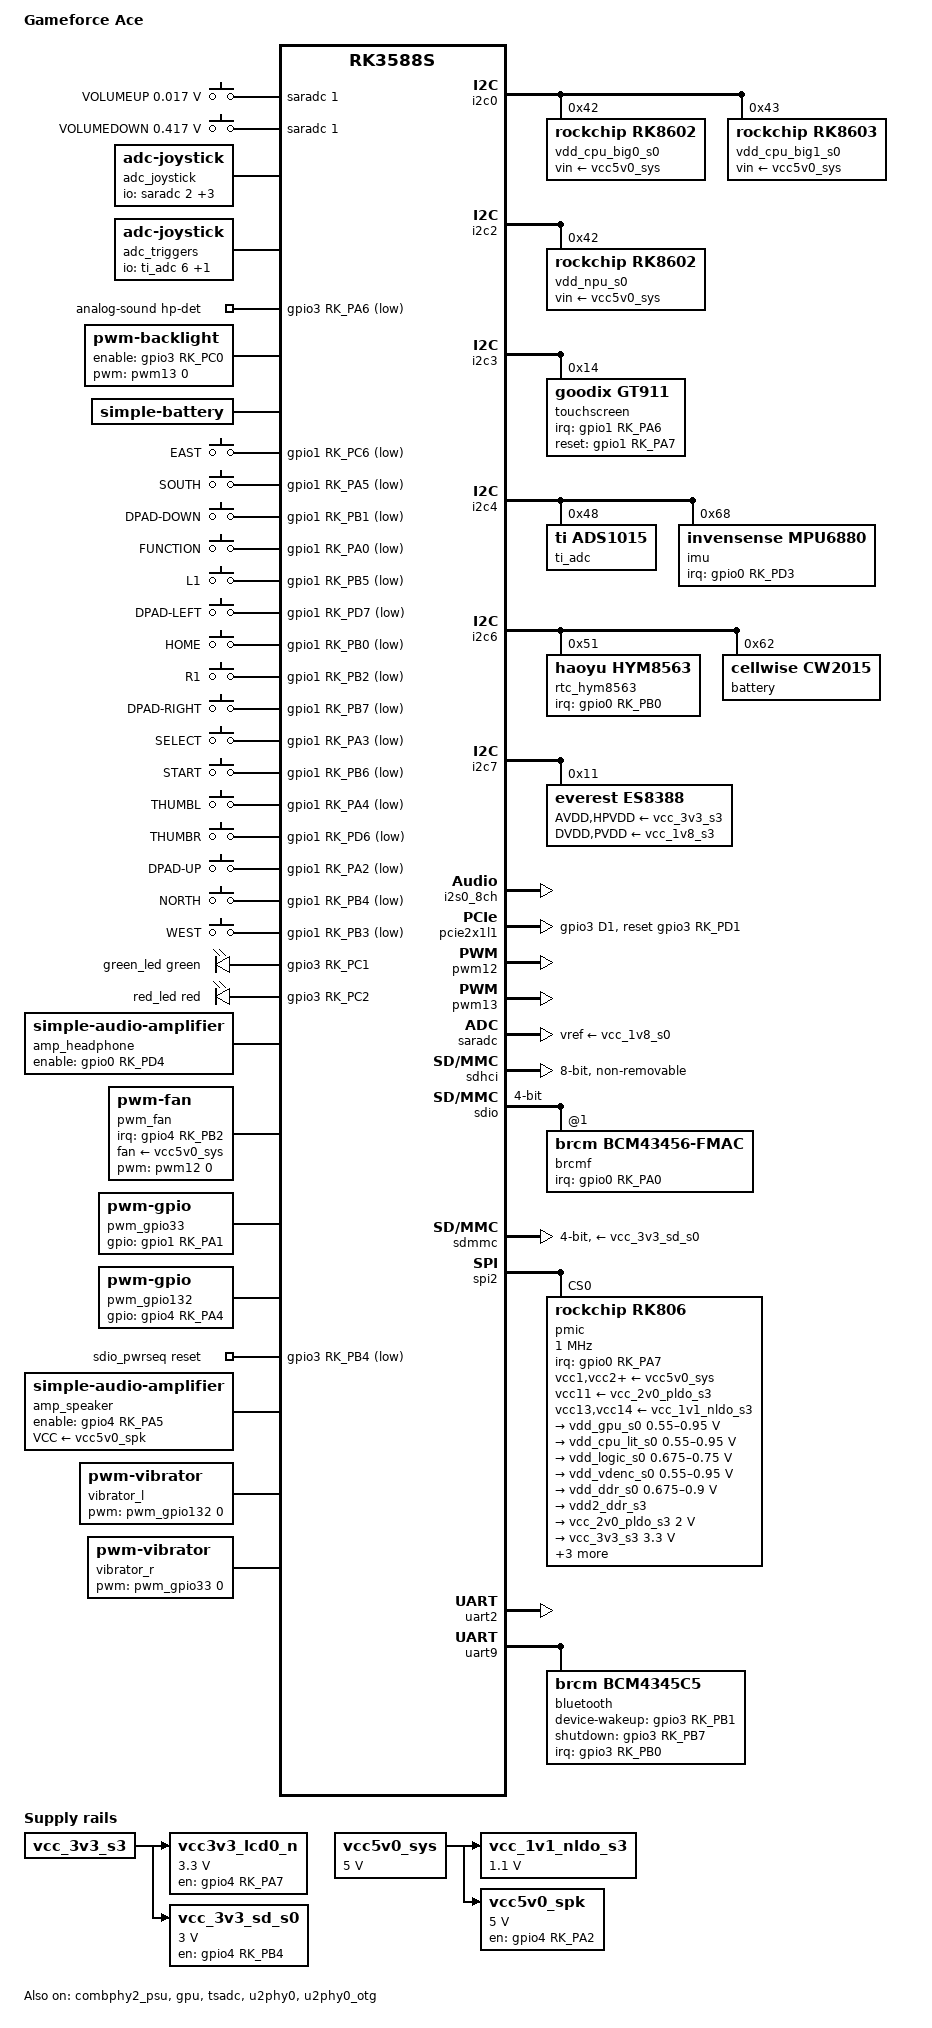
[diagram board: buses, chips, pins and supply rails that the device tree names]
// SPDX-License-Identifier: (GPL-2.0+ OR MIT)

/dts-v1/;

#include <dt-bindings/gpio/gpio.h>
#include <dt-bindings/input/linux-event-codes.h>
#include <dt-bindings/leds/common.h>
#include <dt-bindings/pinctrl/rockchip.h>
#include <dt-bindings/pwm/pwm.h>
#include <dt-bindings/thermal/thermal.h>
#include <dt-bindings/usb/pd.h>
#include "rk3588s.dtsi"

/ {
	model = "Gameforce Ace";
	chassis-type = "handset";
	compatible = "gameforce,ace", "rockchip,rk3588s";

	aliases {
		mmc0 = &sdhci;
		mmc1 = &sdmmc;
		mmc2 = &sdio;
	};

	chosen {
		stdout-path = "serial2:1500000n8";
	};

	adc_keys: adc-keys {
		compatible = "adc-keys";
		io-channels = <&saradc 1>;
		io-channel-names = "buttons";
		keyup-threshold-microvolt = <1800000>;
		poll-interval = <60>;

		button-vol-up {
			label = "VOLUMEUP";
			linux,code = <KEY_VOLUMEUP>;
			press-threshold-microvolt = <17000>;
		};

		button-vol-down {
			label = "VOLUMEDOWN";
			linux,code = <KEY_VOLUMEDOWN>;
			press-threshold-microvolt = <417000>;
		};
	};

	/* Joystick range values based on hardware observation. */
	adc_joystick: adc-joystick {
		compatible = "adc-joystick";
		io-channels = <&saradc 2>, <&saradc 3>,
			      <&saradc 4>, <&saradc 5>;
		poll-interval = <60>;
		#address-cells = <1>;
		#size-cells = <0>;

		axis@0 {
			reg = <0>;
			abs-flat = <40>;
			abs-fuzz = <30>;
			abs-range = <0 4095>;
			linux,code = <ABS_RX>;
		};

		axis@1 {
			reg = <1>;
			abs-flat = <40>;
			abs-fuzz = <30>;
			abs-range = <0 4095>;
			linux,code = <ABS_RY>;
		};

		axis@2 {
			reg = <2>;
			abs-flat = <40>;
			abs-fuzz = <30>;
			abs-range = <0 4095>;
			linux,code = <ABS_Y>;
		};

		axis@3 {
			reg = <3>;
			abs-flat = <40>;
			abs-fuzz = <30>;
			abs-range = <0 4095>;
			linux,code = <ABS_X>;
		};
	};

	/* Trigger range values based on hardware observation. */
	adc_triggers: adc-trigger {
		compatible = "adc-joystick";
		io-channels = <&ti_adc 6>,
			      <&ti_adc 7>;
		poll-interval = <60>;
		#address-cells = <1>;
		#size-cells = <0>;

		axis@0 {
			reg = <0>;
			abs-flat = <15>;
			abs-fuzz = <15>;
			abs-range = <890 1530>;
			linux,code = <ABS_HAT2X>;
		};

		axis@1 {
			reg = <1>;
			abs-flat = <15>;
			abs-fuzz = <15>;
			abs-range = <1010 1550>;
			linux,code = <ABS_HAT2Y>;
		};
	};

	analog-sound {
		compatible = "simple-audio-card";
		pinctrl-0 = <&hp_detect>;
		pinctrl-names = "default";
		simple-audio-card,aux-devs = <&amp_headphone>, <&amp_speaker>;
		simple-audio-card,bitclock-master = <&masterdai>;
		simple-audio-card,format = "i2s";
		simple-audio-card,frame-master = <&masterdai>;
		simple-audio-card,hp-det-gpios = <&gpio3 RK_PA6 GPIO_ACTIVE_LOW>;
		simple-audio-card,mclk-fs = <256>;
		simple-audio-card,name = "rockchip,es8388-codec";
		simple-audio-card,pin-switches = "Headphones", "Speaker";
		simple-audio-card,routing =
			"Speaker Amplifier INL", "LOUT2",
			"Speaker Amplifier INR", "ROUT2",
			"Speaker", "Speaker Amplifier OUTL",
			"Speaker", "Speaker Amplifier OUTR",
			"Headphones Amplifier INL", "LOUT1",
			"Headphones Amplifier INR", "ROUT1",
			"Headphones", "Headphones Amplifier OUTL",
			"Headphones", "Headphones Amplifier OUTR",
			"LINPUT1", "Microphone Jack",
			"RINPUT1", "Microphone Jack",
			"LINPUT2", "Onboard Microphone",
			"RINPUT2", "Onboard Microphone";
		simple-audio-card,widgets =
			"Microphone", "Microphone Jack",
			"Microphone", "Onboard Microphone",
			"Headphone", "Headphones",
			"Speaker", "Speaker";

		masterdai: simple-audio-card,codec {
			sound-dai = <&es8388>;
			system-clock-frequency = <12288000>;
		};

		simple-audio-card,cpu {
			sound-dai = <&i2s0_8ch>;
		};
	};

	backlight: backlight {
		compatible = "pwm-backlight";
		enable-gpios = <&gpio3 RK_PC0 GPIO_ACTIVE_HIGH>;
		pinctrl-0 = <&lcd_bl_en>;
		pinctrl-names = "default";
		pwms = <&pwm13 0 25000 PWM_POLARITY_INVERTED>;
	};

	battery: battery {
		compatible = "simple-battery";
		charge-full-design-microamp-hours = <3700000>;
		constant-charge-current-max-microamp = <2500000>;
		constant-charge-voltage-max-microvolt = <8750000>;
		voltage-min-design-microvolt = <7400000>;
	};

	gpio_keys: gpio-keys {
		compatible = "gpio-keys";
		pinctrl-0 = <&btn_pins_ctrl>;
		pinctrl-names = "default";

		button-a {
			gpios = <&gpio1 RK_PC6 GPIO_ACTIVE_LOW>;
			label = "EAST";
			linux,code = <BTN_EAST>;
		};

		button-b {
			gpios = <&gpio1 RK_PA5 GPIO_ACTIVE_LOW>;
			label = "SOUTH";
			linux,code = <BTN_SOUTH>;
		};

		button-down {
			gpios = <&gpio1 RK_PB1 GPIO_ACTIVE_LOW>;
			label = "DPAD-DOWN";
			linux,code = <BTN_DPAD_DOWN>;
		};

		button-home {
			gpios = <&gpio1 RK_PA0 GPIO_ACTIVE_LOW>;
			label = "FUNCTION";
			linux,code = <BTN_MODE>;
		};

		button-l1 {
			gpios = <&gpio1 RK_PB5 GPIO_ACTIVE_LOW>;
			label = "L1";
			linux,code = <BTN_TL>;
		};

		button-left {
			gpios = <&gpio1 RK_PD7 GPIO_ACTIVE_LOW>;
			label = "DPAD-LEFT";
			linux,code = <BTN_DPAD_LEFT>;
		};

		button-menu {
			gpios = <&gpio1 RK_PB0 GPIO_ACTIVE_LOW>;
			label = "HOME";
			linux,code = <KEY_HOME>;
		};

		button-r1 {
			gpios = <&gpio1 RK_PB2 GPIO_ACTIVE_LOW>;
			label = "R1";
			linux,code = <BTN_TR>;
		};

		button-right {
			gpios = <&gpio1 RK_PB7 GPIO_ACTIVE_LOW>;
			label = "DPAD-RIGHT";
			linux,code = <BTN_DPAD_RIGHT>;
		};

		button-select {
			gpios = <&gpio1 RK_PA3 GPIO_ACTIVE_LOW>;
			label = "SELECT";
			linux,code = <BTN_SELECT>;
		};

		button-start {
			gpios = <&gpio1 RK_PB6 GPIO_ACTIVE_LOW>;
			label = "START";
			linux,code = <BTN_START>;
		};

		button-thumbl {
			gpios = <&gpio1 RK_PA4 GPIO_ACTIVE_LOW>;
			label = "THUMBL";
			linux,code = <BTN_THUMBL>;
		};

		button-thumbr {
			gpios = <&gpio1 RK_PD6 GPIO_ACTIVE_LOW>;
			label = "THUMBR";
			linux,code = <BTN_THUMBR>;
		};

		button-up {
			gpios = <&gpio1 RK_PA2 GPIO_ACTIVE_LOW>;
			label = "DPAD-UP";
			linux,code = <BTN_DPAD_UP>;
		};

		button-x {
			gpios = <&gpio1 RK_PB4 GPIO_ACTIVE_LOW>;
			label = "NORTH";
			linux,code = <BTN_NORTH>;
		};

		button-y {
			gpios = <&gpio1 RK_PB3 GPIO_ACTIVE_LOW>;
			label = "WEST";
			linux,code = <BTN_WEST>;
		};
	};

	gpio_leds: gpio-leds {
		compatible = "gpio-leds";
		pinctrl-names = "default";
		pinctrl-0 = <&led_pins>;

		green_led: led-0 {
			color = <LED_COLOR_ID_GREEN>;
			gpios = <&gpio3 RK_PC1 GPIO_ACTIVE_HIGH>;
			function = LED_FUNCTION_STATUS;
		};

		red_led: led-1 {
			color = <LED_COLOR_ID_RED>;
			gpios = <&gpio3 RK_PC2 GPIO_ACTIVE_HIGH>;
			function = LED_FUNCTION_CHARGING;
		};
	};

	amp_headphone: headphone-amplifier {
		compatible = "simple-audio-amplifier";
		enable-gpios = <&gpio0 RK_PD4 GPIO_ACTIVE_HIGH>;
		pinctrl-0 = <&headphone_amplifier_en>;
		pinctrl-names = "default";
		sound-name-prefix = "Headphones Amplifier";
	};

	pwm_fan: pwm-fan {
		compatible = "pwm-fan";
		#cooling-cells = <2>;
		cooling-levels = <0 120 150 180 210 240 255>;
		fan-supply = <&vcc5v0_sys>;
		interrupt-parent = <&gpio4>;
		interrupts = <RK_PB2 IRQ_TYPE_EDGE_RISING>;
		pulses-per-revolution = <4>;
		pwms = <&pwm12 0 50000 PWM_POLARITY_INVERTED>;
	};

	pwm_gpio33: pwm-33 {
		compatible = "pwm-gpio";
		gpios = <&gpio1 RK_PA1 GPIO_ACTIVE_HIGH>;
		pinctrl-0 = <&vib_right_h>;
		pinctrl-names = "default";
		#pwm-cells = <3>;
	};

	pwm_gpio132: pwm-132 {
		compatible = "pwm-gpio";
		gpios = <&gpio4 RK_PA4 GPIO_ACTIVE_HIGH>;
		pinctrl-0 = <&vib_left_h>;
		pinctrl-names = "default";
		#pwm-cells = <3>;
	};

	sdio_pwrseq: sdio-pwrseq {
		compatible = "mmc-pwrseq-simple";
		clock-names = "ext_clock";
		clocks = <&rtc_hym8563>;
		pinctrl-0 = <&wifi_enable_h>;
		pinctrl-names = "default";
		post-power-on-delay-ms = <200>;
		power-off-delay-us = <5000000>;
		reset-gpios = <&gpio3 RK_PB4 GPIO_ACTIVE_LOW>;
	};

	amp_speaker: speaker-amplifier {
		compatible = "simple-audio-amplifier";
		enable-gpios = <&gpio4 RK_PA5 GPIO_ACTIVE_HIGH>;
		pinctrl-0 = <&speaker_amplifier_en>;
		pinctrl-names = "default";
		sound-name-prefix = "Speaker Amplifier";
		VCC-supply = <&vcc5v0_spk>;
	};

	vcc_1v1_nldo_s3: regulator-vcc-1v1-nldo-s3 {
		compatible = "regulator-fixed";
		regulator-always-on;
		regulator-boot-on;
		regulator-max-microvolt = <1100000>;
		regulator-min-microvolt = <1100000>;
		regulator-name = "vcc_1v1_nldo_s3";
		vin-supply = <&vcc5v0_sys>;
	};

	vcc3v3_lcd0_n: regulator-vcc3v3-lcd0-n {
		compatible = "regulator-fixed";
		enable-active-high;
		gpio = <&gpio4 RK_PA7 GPIO_ACTIVE_HIGH>;
		pinctrl-0 = <&vcc_lcd_h>;
		pinctrl-names = "default";
		regulator-max-microvolt = <3300000>;
		regulator-min-microvolt = <3300000>;
		regulator-name = "vcc3v3_lcd0_n";
		vin-supply = <&vcc_3v3_s3>;
		regulator-state-mem {
			regulator-off-in-suspend;
		};
	};

	vcc_3v3_sd_s0: regulator-vcc-3v3-sd-s0 {
		compatible = "regulator-fixed";
		enable-active-high;
		gpio = <&gpio4 RK_PB4 GPIO_ACTIVE_HIGH>;
		pinctrl-0 = <&sd_s0_pwr>;
		pinctrl-names = "default";
		regulator-max-microvolt = <3000000>;
		regulator-min-microvolt = <3000000>;
		regulator-name = "vcc_3v3_sd_s0";
		vin-supply = <&vcc_3v3_s3>;
	};

	vcc5v0_spk: regulator-vcc5v0-spk {
		compatible = "regulator-fixed";
		enable-active-high;
		gpio = <&gpio4 RK_PA2 GPIO_ACTIVE_HIGH>;
		pinctrl-0 = <&vcc5v0_spk_pwr>;
		pinctrl-names = "default";
		regulator-max-microvolt = <5000000>;
		regulator-min-microvolt = <5000000>;
		regulator-name = "vcc5v0_spk";
		vin-supply = <&vcc5v0_sys>;
		regulator-state-mem {
			regulator-off-in-suspend;
		};
	};

	vcc5v0_sys: regulator-vcc5v0-sys {
		compatible = "regulator-fixed";
		regulator-always-on;
		regulator-boot-on;
		regulator-max-microvolt = <5000000>;
		regulator-min-microvolt = <5000000>;
		regulator-name = "vcc5v0_sys";
	};

	vibrator_l: vibrator-l {
		compatible = "pwm-vibrator";
		pwm-names = "enable";
		pwms = <&pwm_gpio132 0 20000000 0>;
	};

	vibrator_r: vibrator-r {
		compatible = "pwm-vibrator";
		pwm-names = "enable";
		pwms = <&pwm_gpio33 0 20000000 0>;
	};
};

&combphy2_psu {
	status = "okay";
};

&cpu_l0 {
	cpu-supply = <&vdd_cpu_lit_s0>;
};

&cpu_l1 {
	cpu-supply = <&vdd_cpu_lit_s0>;
};

&cpu_l2 {
	cpu-supply = <&vdd_cpu_lit_s0>;
};

&cpu_l3 {
	cpu-supply = <&vdd_cpu_lit_s0>;
};

&cpu_b0 {
	cpu-supply = <&vdd_cpu_big0_s0>;
};

&cpu_b1 {
	cpu-supply = <&vdd_cpu_big0_s0>;
};

&cpu_b2 {
	cpu-supply = <&vdd_cpu_big1_s0>;
};

&cpu_b3 {
	cpu-supply = <&vdd_cpu_big1_s0>;
};

&gpu {
	mali-supply = <&vdd_gpu_s0>;
	status = "okay";
};

&i2c0 {
	pinctrl-0 = <&i2c0m2_xfer>;
	pinctrl-names = "default";
	status = "okay";

	vdd_cpu_big0_s0: regulator@42 {
		compatible = "rockchip,rk8602";
		reg = <0x42>;
		fcs,suspend-voltage-selector = <1>;
		regulator-max-microvolt = <1050000>;
		regulator-min-microvolt = <550000>;
		regulator-name = "vdd_cpu_big0_s0";
		regulator-ramp-delay = <2300>;
		vin-supply = <&vcc5v0_sys>;

		regulator-state-mem {
			regulator-off-in-suspend;
		};
	};

	vdd_cpu_big1_s0: regulator@43 {
		compatible = "rockchip,rk8603", "rockchip,rk8602";
		reg = <0x43>;
		fcs,suspend-voltage-selector = <1>;
		regulator-max-microvolt = <1050000>;
		regulator-min-microvolt = <550000>;
		regulator-name = "vdd_cpu_big1_s0";
		regulator-ramp-delay = <2300>;
		vin-supply = <&vcc5v0_sys>;

		regulator-state-mem {
			regulator-off-in-suspend;
		};
	};
};

&i2c2 {
	status = "okay";

	vdd_npu_s0: regulator@42 {
		compatible = "rockchip,rk8602";
		reg = <0x42>;
		fcs,suspend-voltage-selector = <1>;
		regulator-max-microvolt = <950000>;
		regulator-min-microvolt = <550000>;
		regulator-name = "vdd_npu_s0";
		regulator-ramp-delay = <2300>;
		vin-supply = <&vcc5v0_sys>;

		regulator-state-mem {
			regulator-off-in-suspend;
		};
	};
};

&i2c3 {
	status = "okay";

	touchscreen@14 {
		compatible = "goodix,gt911";
		reg = <0x14>;
		interrupt-parent = <&gpio1>;
		interrupts = <RK_PA6 IRQ_TYPE_LEVEL_LOW>;
		irq-gpios = <&gpio1 RK_PA6 GPIO_ACTIVE_HIGH>;
		pinctrl-0 = <&touch_int>, <&touch_rst>;
		pinctrl-names = "default";
		reset-gpios = <&gpio1 RK_PA7 GPIO_ACTIVE_HIGH>;
		touchscreen-inverted-x;
		touchscreen-size-x = <1080>;
		touchscreen-size-y = <1920>;
		touchscreen-swapped-x-y;
	};
};

&i2c4 {
	pinctrl-0 = <&i2c4m2_xfer>;
	status = "okay";

	ti_adc: adc@48 {
		compatible = "ti,ads1015";
		reg = <0x48>;
		#address-cells = <1>;
		#io-channel-cells = <1>;
		#size-cells = <0>;

		channel@4 {
			reg = <4>;
		};

		channel@5 {
			reg = <5>;
		};

		channel@6 {
			reg = <6>;
		};

		channel@7 {
			reg = <7>;
		};
	};

	imu@68 {
		compatible = "invensense,mpu6880";
		reg = <0x68>;
		interrupt-parent = <&gpio0>;
		interrupts = <RK_PD3 IRQ_TYPE_EDGE_RISING>;
	};
};

&i2c6 {
	pinctrl-0 = <&i2c6m3_xfer>;
	status = "okay";

	rtc_hym8563: rtc@51 {
		compatible = "haoyu,hym8563";
		reg = <0x51>;
		#clock-cells = <0>;
		clock-output-names = "hym8563";
		interrupt-parent = <&gpio0>;
		interrupts = <RK_PB0 IRQ_TYPE_LEVEL_LOW>;
		pinctrl-0 = <&hym8563_int>, <&clk32k_in>;
		pinctrl-names = "default";
		wakeup-source;
	};

	/* Battery profile from BSP device tree. */
	battery@62 {
		compatible = "cellwise,cw2015";
		reg = <0x62>;

		cellwise,battery-profile = /bits/ 8
			<0x18 0x0A 0x76 0x6A 0x6A 0x6A 0x68 0x66
			 0x62 0x5E 0x5A 0x58 0x5F 0x59 0x46 0x3D
			 0x35 0x2D 0x28 0x21 0x29 0x38 0x44 0x50
			 0x1A 0x85 0x07 0xAE 0x14 0x28 0x48 0x56
			 0x66 0x66 0x66 0x6A 0x3E 0x1A 0x6C 0x3D
			 0x09 0x38 0x1A 0x49 0x7B 0x96 0xA2 0x15
			 0x3B 0x77 0x9A 0xB1 0x80 0x87 0xB0 0xCB
			 0x2F 0x00 0x64 0xA5 0xB5 0x1C 0xF0 0x49>;
		cellwise,monitor-interval-ms = <5000>;
		monitored-battery = <&battery>;
		status = "okay";
	};
};

&i2c7 {
	status = "okay";

	es8388: audio-codec@11 {
		compatible = "everest,es8388";
		reg = <0x11>;
		assigned-clock-rates = <12288000>;
		assigned-clocks = <&cru I2S0_8CH_MCLKOUT>;
		AVDD-supply = <&vcc_3v3_s3>;
		clocks = <&cru I2S0_8CH_MCLKOUT>;
		DVDD-supply = <&vcc_1v8_s3>;
		HPVDD-supply = <&vcc_3v3_s3>;
		PVDD-supply = <&vcc_1v8_s3>;
		#sound-dai-cells = <0>;
	};
};

&i2s0_8ch {
	pinctrl-0 = <&i2s0_lrck
		     &i2s0_mclk
		     &i2s0_sclk
		     &i2s0_sdi0
		     &i2s0_sdo0>;
	status = "okay";
};

&package_thermal {
	polling-delay = <1000>;

	trips {
		package_fan0: package-fan0 {
			temperature = <55000>;
			hysteresis = <2000>;
			type = "active";
		};

		package_fan1: package-fan1 {
			temperature = <65000>;
			hysteresis = <2000>;
			type = "active";
		};
	};

	cooling-maps {
		map1 {
			trip = <&package_fan0>;
			cooling-device = <&pwm_fan THERMAL_NO_LIMIT 1>;
		};

		map2 {
			trip = <&package_fan1>;
			cooling-device = <&pwm_fan 2 THERMAL_NO_LIMIT>;
		};
	};
};

/*
 * Attempts to use an M.2 SATA in this slot worked intermittently
 * with the correct nodes enabled in device-tree, but eventually
 * resulted in a destroyed board. Advise caution.
 */
&pcie2x1l1 {
	pinctrl-0 = <&pcie_rst>;
	pinctrl-names = "default";
	reset-gpios = <&gpio3 RK_PD1 GPIO_ACTIVE_HIGH>;
	status = "okay";
};

&pinctrl {
	audio-amplifier {
		headphone_amplifier_en: headphone-amplifier-en {
			rockchip,pins =
				<0 RK_PD4 RK_FUNC_GPIO &pcfg_pull_none>;
		};

		hp_detect: headphone-detect {
			rockchip,pins =
				<3 RK_PA6 RK_FUNC_GPIO &pcfg_pull_none>;
		};

		speaker_amplifier_en: speaker-amplifier-en {
			rockchip,pins =
				<4 RK_PA5 RK_FUNC_GPIO &pcfg_pull_none>;
		};
	};

	bt {
		bt_enable_h: bt-enable-h {
			rockchip,pins =
				<3 RK_PB7 RK_FUNC_GPIO &pcfg_pull_none>;
		};

		bt_host_wake_l: bt-host-wake-l {
			rockchip,pins =
				<3 RK_PB0 RK_FUNC_GPIO &pcfg_pull_down>;
		};

		bt_wake_l: bt-wake-l {
			rockchip,pins =
				<3 RK_PB1 RK_FUNC_GPIO &pcfg_pull_up>;
		};
	};

	charger {
		boost_enable_h: boost-enable-h {
			rockchip,pins =
				<4 RK_PA6 RK_FUNC_GPIO &pcfg_pull_none>;
		};
		charger_int_h: charger-int-h {
			rockchip,pins =
				<0 RK_PD5 RK_FUNC_GPIO &pcfg_pull_up>;
		};
	};

	hym8563 {
		hym8563_int: hym8563-int {
			rockchip,pins =
				<0 RK_PB0 RK_FUNC_GPIO &pcfg_pull_up>;
		};
	};

	gpio-btns {
		btn_pins_ctrl: btn-pins-ctrl {
			rockchip,pins =
				<1 RK_PA0 RK_FUNC_GPIO &pcfg_pull_up>,
				<1 RK_PA2 RK_FUNC_GPIO &pcfg_pull_up>,
				<1 RK_PA3 RK_FUNC_GPIO &pcfg_pull_up>,
				<1 RK_PA4 RK_FUNC_GPIO &pcfg_pull_up>,
				<1 RK_PA5 RK_FUNC_GPIO &pcfg_pull_up>,
				<1 RK_PB0 RK_FUNC_GPIO &pcfg_pull_up>,
				<1 RK_PB1 RK_FUNC_GPIO &pcfg_pull_up>,
				<1 RK_PB2 RK_FUNC_GPIO &pcfg_pull_up>,
				<1 RK_PB3 RK_FUNC_GPIO &pcfg_pull_up>,
				<1 RK_PB4 RK_FUNC_GPIO &pcfg_pull_up>,
				<1 RK_PB5 RK_FUNC_GPIO &pcfg_pull_up>,
				<1 RK_PB6 RK_FUNC_GPIO &pcfg_pull_up>,
				<1 RK_PB7 RK_FUNC_GPIO &pcfg_pull_up>,
				<1 RK_PC6 RK_FUNC_GPIO &pcfg_pull_up>,
				<1 RK_PD6 RK_FUNC_GPIO &pcfg_pull_up>,
				<1 RK_PD7 RK_FUNC_GPIO &pcfg_pull_up>;
		};
	};

	gpio-leds {
		led_pins: led-pins {
			rockchip,pins =
				<3 RK_PC1 RK_FUNC_GPIO &pcfg_pull_up>,
				<3 RK_PC2 RK_FUNC_GPIO &pcfg_pull_up>;
		};
	};

	lcd_bl_en {
		lcd_bl_en: lcd-bl-en {
			rockchip,pins =
				<3 RK_PC0 RK_FUNC_GPIO &pcfg_pull_none>;
		};
	};

	pcie-pins {
		pcie_rst: pcie-rst {
			rockchip,pins =
				<3 RK_PD1 RK_FUNC_GPIO &pcfg_pull_up>;
		};
	};

	sd-pwr {
		sd_s0_pwr: sd-s0-pwr {
			rockchip,pins =
				<4 RK_PB4 RK_FUNC_GPIO &pcfg_pull_up>;
		};
	};

	spk-pwr {
		vcc5v0_spk_pwr: vcc5v0-spk-pwr {
			rockchip,pins =
				<4 RK_PA2 RK_FUNC_GPIO &pcfg_pull_up>;
		};
	};

	touch {
		touch_int: touch-int {
			rockchip,pins =
				<1 RK_PA6 RK_FUNC_GPIO &pcfg_pull_up>;
		};

		touch_rst: touch-rst {
			rockchip,pins =
				<1 RK_PA7 RK_FUNC_GPIO &pcfg_pull_up>;
		};
	};

	usb-typec {
		usbc0_int: usbc0-int {
			rockchip,pins =
				<0 RK_PC7 RK_FUNC_GPIO &pcfg_pull_up>;
		};
	};

	vcc3v3-lcd {
		vcc_lcd_h: vcc-lcd-h {
			rockchip,pins =
				<4 RK_PA7 RK_FUNC_GPIO &pcfg_pull_up>;
		};
	};

	vibrator {
		vib_left_h: vib-left-h {
			rockchip,pins =
				<4 RK_PA4 RK_FUNC_GPIO &pcfg_pull_down>;
		};

		vib_right_h: vib-right-h {
			rockchip,pins =
				<1 RK_PA1 RK_FUNC_GPIO &pcfg_pull_down>;
		};
	};

	wifi {
		wifi_enable_h: wifi-enable-h {
			rockchip,pins =
				<3 RK_PB4 RK_FUNC_GPIO &pcfg_pull_up>;
		};

		wifi_host_wake_irq: wifi-host-wake-irq {
			rockchip,pins =
				<0 RK_PA0 RK_FUNC_GPIO &pcfg_pull_down>;
		};
	};
};

&pwm12 {
	pinctrl-0 = <&pwm12m1_pins>;
	status = "okay";
};

&pwm13 {
	pinctrl-0 = <&pwm13m1_pins>;
	status = "okay";
};

&saradc {
	vref-supply = <&vcc_1v8_s0>;
	status = "okay";
};

&sdhci {
	bus-width = <8>;
	mmc-hs400-1_8v;
	mmc-hs400-enhanced-strobe;
	no-sd;
	no-sdio;
	non-removable;
	status = "okay";
};

&sdio {
	#address-cells = <1>;
	bus-width = <4>;
	cap-sd-highspeed;
	cap-sdio-irq;
	disable-wp;
	keep-power-in-suspend;
	max-frequency = <150000000>;
	mmc-pwrseq = <&sdio_pwrseq>;
	no-mmc;
	no-sd;
	sd-uhs-sdr104;
	#size-cells = <0>;
	status = "okay";

	brcmf: wifi@1 {
		compatible = "brcm,bcm43456-fmac", "brcm,bcm4329-fmac";
		reg = <1>;
		interrupt-parent = <&gpio0>;
		interrupts = <RK_PA0 IRQ_TYPE_LEVEL_HIGH>;
		interrupt-names = "host-wake";
		pinctrl-0 = <&wifi_host_wake_irq>;
		pinctrl-names = "default";
	};
};

&sdmmc {
	bus-width = <4>;
	cap-mmc-highspeed;
	cap-sd-highspeed;
	disable-wp;
	max-frequency = <150000000>;
	no-sdio;
	no-mmc;
	sd-uhs-sdr104;
	vmmc-supply = <&vcc_3v3_sd_s0>;
	vqmmc-supply = <&vccio_sd_s0>;
	status = "okay";
};

&spi2 {
	#address-cells = <1>;
	assigned-clocks = <&cru CLK_SPI2>;
	assigned-clock-rates = <200000000>;
	num-cs = <1>;
	pinctrl-0 = <&spi2m2_pins>, <&spi2m2_cs0>;
	pinctrl-names = "default";
	#size-cells = <0>;
	status = "okay";

	pmic@0 {
		compatible = "rockchip,rk806";
		reg = <0x0>;
		#gpio-cells = <2>;
		gpio-controller;
		interrupt-parent = <&gpio0>;
		interrupts = <RK_PA7 IRQ_TYPE_LEVEL_LOW>;
		pinctrl-0 = <&pmic_pins>, <&rk806_dvs1_null>,
			    <&rk806_dvs2_null>, <&rk806_dvs3_null>;
		pinctrl-names = "default";
		spi-max-frequency = <1000000>;
		system-power-controller;

		vcc1-supply = <&vcc5v0_sys>;
		vcc2-supply = <&vcc5v0_sys>;
		vcc3-supply = <&vcc5v0_sys>;
		vcc4-supply = <&vcc5v0_sys>;
		vcc5-supply = <&vcc5v0_sys>;
		vcc6-supply = <&vcc5v0_sys>;
		vcc7-supply = <&vcc5v0_sys>;
		vcc8-supply = <&vcc5v0_sys>;
		vcc9-supply = <&vcc5v0_sys>;
		vcc10-supply = <&vcc5v0_sys>;
		vcc11-supply = <&vcc_2v0_pldo_s3>;
		vcc12-supply = <&vcc5v0_sys>;
		vcc13-supply = <&vcc_1v1_nldo_s3>;
		vcc14-supply = <&vcc_1v1_nldo_s3>;
		vcca-supply = <&vcc5v0_sys>;

		rk806_dvs1_null: dvs1-null-pins {
			pins = "gpio_pwrctrl1";
			function = "pin_fun0";
		};

		rk806_dvs2_null: dvs2-null-pins {
			pins = "gpio_pwrctrl2";
			function = "pin_fun0";
		};

		rk806_dvs3_null: dvs3-null-pins {
			pins = "gpio_pwrctrl3";
			function = "pin_fun0";
		};

		regulators {
			vdd_gpu_s0: dcdc-reg1 {
				regulator-boot-on;
				regulator-enable-ramp-delay = <400>;
				regulator-max-microvolt = <950000>;
				regulator-min-microvolt = <550000>;
				regulator-name = "vdd_gpu_s0";
				regulator-ramp-delay = <12500>;
				regulator-state-mem {
					regulator-off-in-suspend;
				};
			};

			vdd_cpu_lit_s0: dcdc-reg2 {
				regulator-always-on;
				regulator-boot-on;
				regulator-max-microvolt = <950000>;
				regulator-min-microvolt = <550000>;
				regulator-ramp-delay = <12500>;
				regulator-name = "vdd_cpu_lit_s0";
				regulator-state-mem {
					regulator-off-in-suspend;
				};
			};

			vdd_logic_s0: dcdc-reg3 {
				regulator-always-on;
				regulator-boot-on;
				regulator-max-microvolt = <750000>;
				regulator-min-microvolt = <675000>;
				regulator-name = "vdd_logic_s0";
				regulator-ramp-delay = <12500>;
				regulator-state-mem {
					regulator-on-in-suspend;
					regulator-suspend-microvolt = <750000>;
				};
			};

			vdd_vdenc_s0: dcdc-reg4 {
				regulator-always-on;
				regulator-boot-on;
				regulator-max-microvolt = <950000>;
				regulator-min-microvolt = <550000>;
				regulator-name = "vdd_vdenc_s0";
				regulator-ramp-delay = <12500>;
				regulator-state-mem {
					regulator-off-in-suspend;
				};
			};

			vdd_ddr_s0: dcdc-reg5 {
				regulator-always-on;
				regulator-boot-on;
				regulator-min-microvolt = <675000>;
				regulator-max-microvolt = <900000>;
				regulator-ramp-delay = <12500>;
				regulator-name = "vdd_ddr_s0";
				regulator-state-mem {
					regulator-off-in-suspend;
					regulator-suspend-microvolt = <850000>;
				};
			};

			vdd2_ddr_s3: dcdc-reg6 {
				regulator-always-on;
				regulator-boot-on;
				regulator-name = "vdd2_ddr_s3";
				regulator-state-mem {
					regulator-on-in-suspend;
				};
			};

			vcc_2v0_pldo_s3: dcdc-reg7 {
				regulator-always-on;
				regulator-boot-on;
				regulator-max-microvolt = <2000000>;
				regulator-min-microvolt = <2000000>;
				regulator-name = "vdd_2v0_pldo_s3";
				regulator-state-mem {
					regulator-on-in-suspend;
					regulator-suspend-microvolt = <2000000>;
				};
			};

			vcc_3v3_s3: dcdc-reg8 {
				regulator-always-on;
				regulator-boot-on;
				regulator-max-microvolt = <3300000>;
				regulator-min-microvolt = <3300000>;
				regulator-name = "vcc_3v3_s3";
				regulator-state-mem {
					regulator-on-in-suspend;
					regulator-suspend-microvolt = <3300000>;
				};
			};

			vddq_ddr_s0: dcdc-reg9 {
				regulator-always-on;
				regulator-boot-on;
				regulator-name = "vddq_ddr_s0";
				regulator-state-mem {
					regulator-off-in-suspend;
				};
			};

			vcc_1v8_s3: dcdc-reg10 {
				regulator-always-on;
				regulator-boot-on;
				regulator-max-microvolt = <1800000>;
				regulator-min-microvolt = <1800000>;
				regulator-name = "vcc_1v8_s3";
				regulator-state-mem {
					regulator-on-in-suspend;
					regulator-suspend-microvolt = <1800000>;
				};
			};

			avcc_1v8_s0: pldo-reg1 {
				regulator-always-on;
				regulator-boot-on;
				regulator-max-microvolt = <1800000>;
				regulator-min-microvolt = <1800000>;
				regulator-name = "avcc_1v8_s0";
				regulator-state-mem {
					regulator-off-in-suspend;
				};
			};

			vcc_1v8_s0: pldo-reg2 {
				regulator-always-on;
				regulator-boot-on;
				regulator-max-microvolt = <1800000>;
				regulator-min-microvolt = <1800000>;
				regulator-name = "vcc_1v8_s0";
				regulator-state-mem {
					regulator-off-in-suspend;
					regulator-suspend-microvolt = <1800000>;
				};
			};

			avdd_1v2_s0: pldo-reg3 {
				regulator-always-on;
				regulator-boot-on;
				regulator-max-microvolt = <1200000>;
				regulator-min-microvolt = <1200000>;
				regulator-name = "avdd_1v2_s0";
				regulator-state-mem {
					regulator-off-in-suspend;
				};
			};

			vcc_3v3_s0: pldo-reg4 {
				regulator-always-on;
				regulator-boot-on;
				regulator-max-microvolt = <3300000>;
				regulator-min-microvolt = <3300000>;
				regulator-name = "vcc_3v3_s0";
				regulator-state-mem {
					regulator-off-in-suspend;
				};
			};

			vccio_sd_s0: pldo-reg5 {
				regulator-always-on;
				regulator-boot-on;
				regulator-max-microvolt = <3300000>;
				regulator-min-microvolt = <1800000>;
				regulator-name = "vccio_sd_s0";
				regulator-state-mem {
					regulator-off-in-suspend;
				};
			};

			vcc_1v8_s3_pldo6: pldo-reg6 {
				regulator-always-on;
				regulator-boot-on;
				regulator-max-microvolt = <1800000>;
				regulator-min-microvolt = <1800000>;
				regulator-name = "vcc_1v8_s3_pldo6";
				regulator-state-mem {
					regulator-on-in-suspend;
					regulator-suspend-microvolt = <1800000>;
				};
			};

			vdd_0v75_s3: nldo-reg1 {
				regulator-always-on;
				regulator-boot-on;
				regulator-max-microvolt = <750000>;
				regulator-min-microvolt = <750000>;
				regulator-name = "vdd_0v75_s3";
				regulator-state-mem {
					regulator-on-in-suspend;
					regulator-suspend-microvolt = <750000>;
				};
			};

			vdd_ddr_pll_s0: nldo-reg2 {
				regulator-always-on;
				regulator-boot-on;
				regulator-max-microvolt = <850000>;
				regulator-min-microvolt = <850000>;
				regulator-name = "vdd_ddr_pll_s0";
				regulator-state-mem {
					regulator-off-in-suspend;
					regulator-suspend-microvolt = <850000>;
				};
			};

			avdd_0v75_s0: nldo-reg3 {
				regulator-always-on;
				regulator-boot-on;
				regulator-max-microvolt = <837500>;
				regulator-min-microvolt = <837500>;
				regulator-name = "avdd_0v75_s0";
				regulator-state-mem {
					regulator-off-in-suspend;
				};
			};

			vdd_0v85_s0: nldo-reg4 {
				regulator-always-on;
				regulator-boot-on;
				regulator-min-microvolt = <850000>;
				regulator-max-microvolt = <850000>;
				regulator-name = "vdd_0v85_s0";
				regulator-state-mem {
					regulator-off-in-suspend;
				};
			};

			vdd_0v75_s0: nldo-reg5 {
				regulator-always-on;
				regulator-boot-on;
				regulator-min-microvolt = <750000>;
				regulator-max-microvolt = <750000>;
				regulator-name = "vdd_0v75_s0";
				regulator-state-mem {
					regulator-off-in-suspend;
				};
			};
		};
	};
};

&tsadc {
	status = "okay";
};

&u2phy0 {
	status = "okay";
};

&u2phy0_otg {
	status = "okay";
};

&uart2 {
	pinctrl-0 = <&uart2m0_xfer>;
	status = "okay";
};

&uart9 {
	pinctrl-0 = <&uart9m2_xfer>, <&uart9m2_ctsn>, <&uart9m2_rtsn>;
	uart-has-rtscts;
	status = "okay";

	bluetooth {
		compatible = "brcm,bcm4345c5";
		clocks = <&rtc_hym8563>;
		clock-names = "lpo";
		device-wakeup-gpios = <&gpio3 RK_PB1 GPIO_ACTIVE_HIGH>;
		interrupt-parent = <&gpio3>;
		interrupts = <RK_PB0 IRQ_TYPE_EDGE_FALLING>;
		pinctrl-0 = <&bt_enable_h>, <&bt_host_wake_l>, <&bt_wake_l>;
		pinctrl-names = "default";
		shutdown-gpios = <&gpio3 RK_PB7 GPIO_ACTIVE_HIGH>;
	};
};
